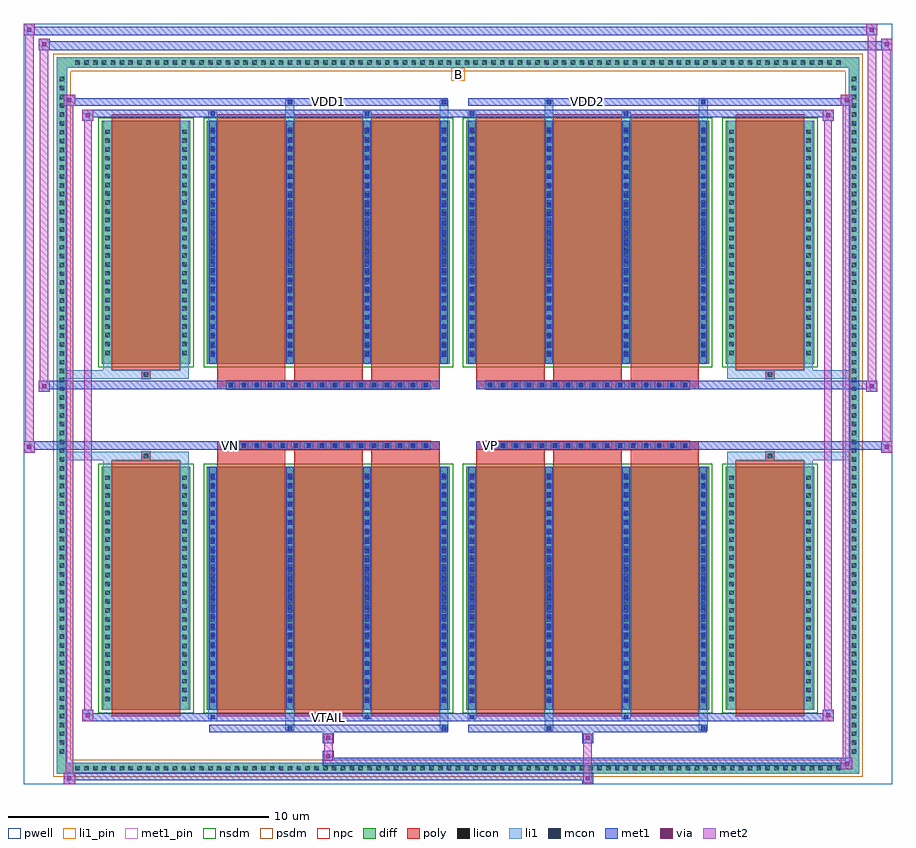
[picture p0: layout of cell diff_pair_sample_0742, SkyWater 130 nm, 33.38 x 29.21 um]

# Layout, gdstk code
import gdstk
lib = gdstk.Library(unit=1e-6, precision=5e-09)
def R(c, l, rs):  # rectangles x0, y0, x1, y1
    for r in rs: c.add(gdstk.rectangle(r[:2], r[2:], *l))
def A(c, l, x, y, w, h, nx, ny, dx, dy):  # array of equal rectangles
    R(c, l, [(x+i*dx, y+j*dy, x+i*dx+w, y+j*dy+h) for i in range(nx) for j in range(ny)])
def P(c, l, *ps):  # polygons
    for p in ps: c.add(gdstk.Polygon(p, *l))
pwell = (64, 44)
diff = (65, 20)
poly = (66, 20)
licon = (66, 44)
li1_pin = (67, 16)
li1 = (67, 20)
mcon = (67, 44)
met1_pin = (68, 16)
met1 = (68, 20)
via = (68, 44)
met2 = (69, 20)
nsdm = (93, 44)
psdm = (94, 20)
npc = (95, 20)

diff_pair_sample_0742 = lib.new_cell('diff_pair_sample_0742')
R(diff_pair_sample_0742, pwell, [(-16.69,-14.17,16.69,15.04), (-14.01,-12.36,-0.01,-0.8), (0.01,-12.36,14.01,-0.8), (-14.01,0.8,-0.01,12.36), (0.01,0.8,14.01,12.36)])
A(diff_pair_sample_0742, diff, -14.825, -13.77, 0.41, 0.41, 87, 2, 0.34, 27.13)
A(diff_pair_sample_0742, diff, -15.42, -13.125, 0.41, 0.41, 1, 77, 0, 0.34)
A(diff_pair_sample_0742, diff, 15.01, -13.125, 0.41, 0.41, 1, 77, 0, 0.34)
R(diff_pair_sample_0742, diff, [(-14.825,-13.77,14.825,-13.36), (-15.42,-13.125,-15.01,13.125), (15.01,-13.125,15.42,13.125), (-13.7,-11.315,-10.29,-1.985), (-9.65,-11.315,-0.32,-1.985), (0.32,-11.315,9.65,-1.985), (10.29,-11.315,13.7,-1.985), (-13.7,1.985,-10.29,11.315), (-9.65,1.985,-0.32,11.315), (0.32,1.985,9.65,11.315), (10.29,1.985,13.7,11.315), (-14.825,13.36,14.825,13.77)])
P(diff_pair_sample_0742, diff, [(15.42,13.77),(-15.42,13.77),(-15.42,-13.36),(-15.01,-13.36),(-15.01,13.36),(15.01,13.36),(15.01,-13.36),(-15.01,-13.36),(-15.42,-13.36),(-15.42,-13.77),(15.42,-13.77)])
A(diff_pair_sample_0742, poly, -9.26, -11.565, 2.63, 9.83, 3, 2, 2.96, 13.3)
A(diff_pair_sample_0742, poly, 0.71, -11.565, 2.63, 9.83, 3, 2, 2.96, 13.3)
A(diff_pair_sample_0742, poly, -9.26, -1.735, 2.63, 0.405, 3, 2, 2.96, 3.065)
A(diff_pair_sample_0742, poly, 0.71, -1.735, 2.63, 0.405, 3, 2, 2.96, 3.065)
A(diff_pair_sample_0742, poly, -8.9, -1.33, 0.33, 0.33, 16, 2, 0.5, 2.33)
A(diff_pair_sample_0742, poly, 1.07, -1.33, 0.33, 0.33, 16, 2, 0.5, 2.33)
R(diff_pair_sample_0742, poly, [(-13.31,-11.565,-10.68,-1.735), (10.68,-11.565,13.31,-1.735), (-12.16,-1.735,-11.83,-1.405), (-12.16,-1.735,-11.83,-1.405), (11.83,-1.735,12.16,-1.405), (11.83,-1.735,12.16,-1.405), (-9.26,-1.33,-0.71,-1), (0.71,-1.33,9.26,-1), (-9.26,1,-0.71,1.33), (0.71,1,9.26,1.33), (-12.16,1.405,-11.83,1.735), (-12.16,1.405,-11.83,1.735), (11.83,1.405,12.16,1.735), (11.83,1.405,12.16,1.735), (-13.31,1.735,-10.68,11.565), (10.68,1.735,13.31,11.565)])
A(diff_pair_sample_0742, licon, -14.705, -13.65, 0.17, 0.17, 87, 2, 0.34, 27.13)
A(diff_pair_sample_0742, licon, -15.3, -13.005, 0.17, 0.17, 1, 77, 0, 0.34)
A(diff_pair_sample_0742, licon, 15.13, -13.005, 0.17, 0.17, 1, 77, 0, 0.34)
A(diff_pair_sample_0742, licon, -13.56, -10.985, 0.17, 0.17, 1, 26, 0, 0.34)
A(diff_pair_sample_0742, licon, -10.6, -10.985, 0.17, 0.17, 1, 26, 0, 0.34)
A(diff_pair_sample_0742, licon, -9.51, -10.985, 0.17, 0.17, 4, 26, 2.96, 0.34)
A(diff_pair_sample_0742, licon, 0.46, -10.985, 0.17, 0.17, 4, 26, 2.96, 0.34)
A(diff_pair_sample_0742, licon, 10.43, -10.985, 0.17, 0.17, 1, 26, 0, 0.34)
A(diff_pair_sample_0742, licon, 13.39, -10.985, 0.17, 0.17, 1, 26, 0, 0.34)
A(diff_pair_sample_0742, licon, -8.82, -1.25, 0.17, 0.17, 16, 2, 0.5, 2.33)
A(diff_pair_sample_0742, licon, 1.15, -1.25, 0.17, 0.17, 16, 2, 0.5, 2.33)
A(diff_pair_sample_0742, licon, -13.56, 2.315, 0.17, 0.17, 1, 26, 0, 0.34)
A(diff_pair_sample_0742, licon, -10.6, 2.315, 0.17, 0.17, 1, 26, 0, 0.34)
A(diff_pair_sample_0742, licon, -9.51, 2.315, 0.17, 0.17, 4, 26, 2.96, 0.34)
A(diff_pair_sample_0742, licon, 0.46, 2.315, 0.17, 0.17, 4, 26, 2.96, 0.34)
A(diff_pair_sample_0742, licon, 10.43, 2.315, 0.17, 0.17, 1, 26, 0, 0.34)
A(diff_pair_sample_0742, licon, 13.39, 2.315, 0.17, 0.17, 1, 26, 0, 0.34)
R(diff_pair_sample_0742, licon, [(-12.08,-1.655,-11.91,-1.485), (11.91,-1.655,12.08,-1.485), (-12.08,1.485,-11.91,1.655), (11.91,1.485,12.08,1.655)])
R(diff_pair_sample_0742, li1_pin, [(-0.25,12.86,0.25,13.36)])
A(diff_pair_sample_0742, li1, -14.785, -13.73, 0.33, 0.33, 87, 2, 0.34, 27.13)
A(diff_pair_sample_0742, li1, -15.38, -13.085, 0.33, 0.33, 1, 77, 0, 0.34)
A(diff_pair_sample_0742, li1, 15.05, -13.085, 0.33, 0.33, 1, 77, 0, 0.34)
A(diff_pair_sample_0742, li1, -9.59, -11.315, 0.33, 9.33, 4, 2, 2.96, 13.3)
A(diff_pair_sample_0742, li1, 0.38, -11.315, 0.33, 9.33, 4, 2, 2.96, 13.3)
A(diff_pair_sample_0742, li1, -13.64, -11.065, 0.33, 0.33, 1, 26, 0, 0.34)
A(diff_pair_sample_0742, li1, -10.68, -11.065, 0.33, 0.33, 1, 26, 0, 0.34)
A(diff_pair_sample_0742, li1, -9.59, -11.065, 0.33, 0.33, 4, 26, 2.96, 0.34)
A(diff_pair_sample_0742, li1, 0.38, -11.065, 0.33, 0.33, 4, 26, 2.96, 0.34)
A(diff_pair_sample_0742, li1, 10.35, -11.065, 0.33, 0.33, 1, 26, 0, 0.34)
A(diff_pair_sample_0742, li1, 13.31, -11.065, 0.33, 0.33, 1, 26, 0, 0.34)
A(diff_pair_sample_0742, li1, -9.51, -11.055, 0.17, 0.17, 4, 25, 2.96, 0.36)
A(diff_pair_sample_0742, li1, -9.51, -11.055, 0.17, 8.81, 4, 2, 2.96, 13.3)
A(diff_pair_sample_0742, li1, 0.46, -11.055, 0.17, 0.17, 4, 25, 2.96, 0.36)
A(diff_pair_sample_0742, li1, 0.46, -11.055, 0.17, 8.81, 4, 2, 2.96, 13.3)
A(diff_pair_sample_0742, li1, -8.9, -1.33, 0.33, 0.33, 16, 2, 0.5, 2.33)
A(diff_pair_sample_0742, li1, 1.07, -1.33, 0.33, 0.33, 16, 2, 0.5, 2.33)
A(diff_pair_sample_0742, li1, -13.64, 2.235, 0.33, 0.33, 1, 26, 0, 0.34)
A(diff_pair_sample_0742, li1, -10.68, 2.235, 0.33, 0.33, 1, 26, 0, 0.34)
A(diff_pair_sample_0742, li1, -9.59, 2.235, 0.33, 0.33, 4, 26, 2.96, 0.34)
A(diff_pair_sample_0742, li1, 0.38, 2.235, 0.33, 0.33, 4, 26, 2.96, 0.34)
A(diff_pair_sample_0742, li1, 10.35, 2.235, 0.33, 0.33, 1, 26, 0, 0.34)
A(diff_pair_sample_0742, li1, 13.31, 2.235, 0.33, 0.33, 1, 26, 0, 0.34)
A(diff_pair_sample_0742, li1, -9.51, 2.245, 0.17, 0.17, 4, 25, 2.96, 0.36)
A(diff_pair_sample_0742, li1, 0.46, 2.245, 0.17, 0.17, 4, 25, 2.96, 0.36)
R(diff_pair_sample_0742, li1, [(-15.42,-13.77,-15.01,-13.36), (-15.42,-13.77,-15.01,-13.36), (-15.01,-13.77,15.01,-13.36), (15.01,-13.77,15.42,-13.36), (15.01,-13.77,15.42,-13.36), (-15.42,-13.36,-15.01,13.36), (15.01,-13.36,15.42,13.36), (-6.63,-12.12,-6.3,-11.315), (-6.55,-12.12,-6.38,-11.95), (-0.71,-12.12,-0.38,-11.315), (-0.63,-12.12,-0.46,-11.95), (3.34,-12.12,3.67,-11.315), (3.42,-12.12,3.59,-11.95), (9.26,-12.12,9.59,-11.315), (9.34,-12.12,9.51,-11.95), (-9.59,-11.69,-9.26,-11.315), (-9.51,-11.69,-9.34,-11.52), (-3.67,-11.69,-3.34,-11.315), (-3.59,-11.69,-3.42,-11.52), (0.38,-11.69,0.71,-11.315), (0.46,-11.69,0.63,-11.52), (6.3,-11.69,6.63,-11.315), (6.38,-11.69,6.55,-11.52), (-13.64,-11.315,-13.31,-1.985), (-10.68,-11.315,-10.35,-1.985), (10.35,-11.315,10.68,-1.985), (13.31,-11.315,13.64,-1.985), (-13.64,-1.985,-13.31,-1.405), (-10.68,-1.985,-10.35,-1.405), (10.35,-1.985,10.68,-1.405), (13.31,-1.985,13.64,-1.405), (-15.42,-1.735,-12.16,-1.405), (-13.64,-1.735,-12.16,-1.405), (-12.16,-1.735,-11.83,-1.405), (-11.83,-1.735,-10.35,-1.405), (10.35,-1.735,11.83,-1.405), (11.83,-1.735,12.16,-1.405), (11.83,-1.735,15.42,-1.405), (12.16,-1.735,13.64,-1.405), (-15.42,1.405,-12.16,1.735), (-13.64,1.405,-12.16,1.735), (-13.64,1.405,-13.31,1.985), (-12.16,1.405,-11.83,1.735), (-11.83,1.405,-10.35,1.735), (-10.68,1.405,-10.35,1.985), (10.35,1.405,11.83,1.735), (10.35,1.405,10.68,1.985), (11.83,1.405,12.16,1.735), (11.83,1.405,15.42,1.735), (12.16,1.405,13.64,1.735), (13.31,1.405,13.64,1.985), (-13.64,1.985,-13.31,11.315), (-10.68,1.985,-10.35,11.315), (10.35,1.985,10.68,11.315), (13.31,1.985,13.64,11.315), (-9.59,11.315,-9.26,11.69), (-6.63,11.315,-6.3,12.12), (-3.67,11.315,-3.34,11.69), (-0.71,11.315,-0.38,12.12), (0.38,11.315,0.71,11.69), (3.34,11.315,3.67,12.12), (6.3,11.315,6.63,11.69), (9.26,11.315,9.59,12.12), (-9.51,11.52,-9.34,11.69), (-3.59,11.52,-3.42,11.69), (0.46,11.52,0.63,11.69), (6.38,11.52,6.55,11.69), (-6.55,11.95,-6.38,12.12), (-0.63,11.95,-0.46,12.12), (3.42,11.95,3.59,12.12), (9.34,11.95,9.51,12.12), (-15.42,13.36,-15.01,13.77), (-15.42,13.36,-15.01,13.77), (-15.01,13.36,15.01,13.77), (15.01,13.36,15.42,13.77), (15.01,13.36,15.42,13.77)])
A(diff_pair_sample_0742, mcon, -9.51, -11.055, 0.17, 0.17, 4, 25, 2.96, 0.36)
A(diff_pair_sample_0742, mcon, 0.46, -11.055, 0.17, 0.17, 4, 25, 2.96, 0.36)
A(diff_pair_sample_0742, mcon, -8.82, -1.25, 0.17, 0.17, 16, 2, 0.5, 2.33)
A(diff_pair_sample_0742, mcon, 1.15, -1.25, 0.17, 0.17, 16, 2, 0.5, 2.33)
A(diff_pair_sample_0742, mcon, -9.51, 2.245, 0.17, 0.17, 4, 25, 2.96, 0.36)
A(diff_pair_sample_0742, mcon, 0.46, 2.245, 0.17, 0.17, 4, 25, 2.96, 0.36)
R(diff_pair_sample_0742, mcon, [(-6.55,-12.12,-6.38,-11.95), (-0.63,-12.12,-0.46,-11.95), (3.42,-12.12,3.59,-11.95), (9.34,-12.12,9.51,-11.95), (-9.51,-11.69,-9.34,-11.52), (-3.59,-11.69,-3.42,-11.52), (0.46,-11.69,0.63,-11.52), (6.38,-11.69,6.55,-11.52), (-9.51,11.52,-9.34,11.69), (-3.59,11.52,-3.42,11.69), (0.46,11.52,0.63,11.69), (6.38,11.52,6.55,11.69), (-6.55,11.95,-6.38,12.12), (-0.63,11.95,-0.46,12.12), (3.42,11.95,3.59,12.12), (9.34,11.95,9.51,12.12)])
R(diff_pair_sample_0742, met1_pin, [(-5.12,-11.73,-4.85,-11.46), (-8.87,-1.29,-8.6,-1.02), (1.1,-1.29,1.37,-1.02), (-5.12,11.91,-4.85,12.18), (4.85,11.91,5.12,12.18)])
A(diff_pair_sample_0742, met1, -9.57, -11.315, 0.29, 9.33, 4, 2, 2.96, 13.3)
A(diff_pair_sample_0742, met1, 0.4, -11.315, 0.29, 9.33, 4, 2, 2.96, 13.3)
A(diff_pair_sample_0742, met1, -9.57, -11.115, 0.29, 0.29, 4, 25, 2.96, 0.36)
A(diff_pair_sample_0742, met1, 0.4, -11.115, 0.29, 0.29, 4, 25, 2.96, 0.36)
A(diff_pair_sample_0742, met1, -8.88, -1.31, 0.29, 0.29, 16, 2, 0.5, 2.33)
A(diff_pair_sample_0742, met1, 1.09, -1.31, 0.29, 0.29, 16, 2, 0.5, 2.33)
A(diff_pair_sample_0742, met1, -9.57, 2.185, 0.29, 0.29, 4, 25, 2.96, 0.36)
A(diff_pair_sample_0742, met1, 0.4, 2.185, 0.29, 0.29, 4, 25, 2.96, 0.36)
R(diff_pair_sample_0742, met1, [(-15.15,-14.17,-14.72,-13.74), (4.77,-14.17,5.2,-13.74), (-15.15,-14.03,5.2,-13.74), (14.72,-13.6,15.15,-13.17), (-5.2,-13.46,15.15,-13.17), (-5.2,-13.32,-4.77,-12.89), (-5.2,-12.61,-4.77,-12.18), (4.77,-12.61,5.2,-12.18), (-9.57,-12.18,-0.4,-11.89), (-6.61,-12.18,-6.32,-11.89), (-0.69,-12.18,-0.4,-11.89), (0.4,-12.18,9.57,-11.89), (3.36,-12.18,3.65,-11.89), (9.28,-12.18,9.57,-11.89), (-14.44,-11.75,-14.01,-11.32), (-14.44,-11.75,-9.57,-11.46), (-9.57,-11.75,-9.28,-11.46), (-9.57,-11.75,-0.4,-11.46), (-3.65,-11.75,-3.36,-11.46), (-0.4,-11.75,0.4,-11.46), (0.4,-11.75,0.69,-11.46), (0.4,-11.75,9.57,-11.46), (6.32,-11.75,6.61,-11.46), (9.57,-11.75,14.44,-11.46), (14.01,-11.75,14.44,-11.32), (-16.69,-1.43,-16.26,-1), (16.26,-1.43,16.69,-1), (-16.69,-1.33,-0.71,-1), (-9.26,-1.33,-0.71,-1), (0.71,-1.33,9.26,-1), (0.71,-1.33,16.69,-1), (-16.12,0.9,-15.69,1.33), (15.69,0.9,16.12,1.33), (-16.12,1,-9.26,1.33), (-9.26,1,-0.71,1.33), (0.71,1,9.26,1.33), (9.26,1,16.12,1.33), (-14.44,11.32,-14.01,11.75), (14.01,11.32,14.44,11.75), (-14.44,11.46,-9.57,11.75), (-9.57,11.46,-9.28,11.75), (-9.57,11.46,-0.4,11.75), (-3.65,11.46,-3.36,11.75), (-0.4,11.46,0.4,11.75), (0.4,11.46,0.69,11.75), (0.4,11.46,9.57,11.75), (6.32,11.46,6.61,11.75), (9.57,11.46,14.44,11.75), (-15.15,11.89,-14.72,12.32), (-15.15,11.89,-9.57,12.18), (-9.57,11.89,-0.4,12.18), (-6.61,11.89,-6.32,12.18), (-0.69,11.89,-0.4,12.18), (0.4,11.89,9.57,12.18), (3.36,11.89,3.65,12.18), (9.28,11.89,9.57,12.18), (9.57,11.89,15.15,12.18), (14.72,11.89,15.15,12.32), (-16.12,14.04,-15.69,14.47), (-16.12,14.04,-14.01,14.37), (-14.01,14.04,14.01,14.37), (14.01,14.04,16.69,14.37), (16.26,14.04,16.69,14.47), (-16.69,14.61,-16.26,15.04), (-16.69,14.61,-14.01,14.94), (-14.01,14.61,14.01,14.94), (14.01,14.61,16.12,14.94), (15.69,14.61,16.12,15.04)])
R(diff_pair_sample_0742, via, [(-15.01,-14.03,-14.86,-13.88), (4.91,-14.03,5.06,-13.88), (14.86,-13.46,15.01,-13.31), (-5.06,-13.18,-4.91,-13.03), (-5.06,-12.47,-4.91,-12.32), (4.91,-12.47,5.06,-12.32), (-14.3,-11.61,-14.15,-11.46), (14.15,-11.61,14.3,-11.46), (-16.55,-1.29,-16.4,-1.14), (16.4,-1.29,16.55,-1.14), (-15.98,1.04,-15.83,1.19), (15.83,1.04,15.98,1.19), (-14.3,11.46,-14.15,11.61), (14.15,11.46,14.3,11.61), (-15.01,12.03,-14.86,12.18), (14.86,12.03,15.01,12.18), (-15.98,14.18,-15.83,14.33), (16.4,14.18,16.55,14.33), (-16.55,14.75,-16.4,14.9), (15.83,14.75,15.98,14.9)])
R(diff_pair_sample_0742, met2, [(-15.15,-14.17,-14.72,-13.74), (-15.08,-14.17,-14.79,12.32), (-14.79,-14.17,-14.72,-13.74), (-15.1,-14.12,-14.77,-13.79), (4.82,-14.12,5.15,-13.79), (4.82,-13.79,5.15,-12.56), (14.72,-13.6,15.15,-13.17), (14.79,-13.6,15.08,12.32), (15.08,-13.6,15.15,-13.17), (14.77,-13.55,15.1,-13.22), (-5.15,-13.27,-4.82,-12.94), (-5.15,-12.94,-4.82,-12.56), (-5.15,-12.56,-4.82,-12.23), (4.82,-12.56,5.15,-12.23), (-14.44,-11.75,-14.01,-11.32), (-14.37,-11.75,-14.08,11.75), (-14.08,-11.75,-14.01,-11.32), (14.01,-11.75,14.44,-11.32), (14.08,-11.75,14.37,11.75), (14.37,-11.75,14.44,-11.32), (-14.39,-11.7,-14.06,-11.37), (14.06,-11.7,14.39,-11.37), (-16.69,-1.43,-16.26,-1), (-16.64,-1.43,-16.31,15.04), (-16.31,-1.43,-16.26,-1), (16.26,-1.43,16.69,-1), (16.31,-1.43,16.64,14.47), (16.64,-1.43,16.69,-1), (-16.64,-1.38,-16.31,-1.05), (16.31,-1.38,16.64,-1.05), (-16.12,0.9,-15.69,1.33), (-16.07,0.9,-15.74,14.47), (-15.74,0.9,-15.69,1.33), (15.69,0.9,16.12,1.33), (15.74,0.9,16.07,15.04), (16.07,0.9,16.12,1.33), (-16.07,0.95,-15.74,1.28), (15.74,0.95,16.07,1.28), (-14.44,11.32,-14.01,11.75), (-14.08,11.32,-14.01,11.75), (14.01,11.32,14.44,11.75), (14.37,11.32,14.44,11.75), (-14.39,11.37,-14.06,11.7), (14.06,11.37,14.39,11.7), (-15.15,11.89,-14.72,12.32), (-14.79,11.89,-14.72,12.32), (14.72,11.89,15.15,12.32), (15.08,11.89,15.15,12.32), (-15.1,11.94,-14.77,12.27), (14.77,11.94,15.1,12.27), (-16.12,14.04,-15.69,14.47), (-15.74,14.04,-15.69,14.47), (16.26,14.04,16.69,14.47), (16.64,14.04,16.69,14.47), (-16.07,14.09,-15.74,14.42), (16.31,14.09,16.64,14.42), (-16.69,14.61,-16.26,15.04), (-16.31,14.61,-16.26,15.04), (15.69,14.61,16.12,15.04), (16.07,14.61,16.12,15.04), (-16.64,14.66,-16.31,14.99), (15.74,14.66,16.07,14.99)])
R(diff_pair_sample_0742, nsdm, [(-13.83,-11.445,-10.16,-1.855), (-9.78,-11.445,-0.19,-1.855), (0.19,-11.445,9.78,-1.855), (10.16,-11.445,13.83,-1.855), (-13.83,1.855,-10.16,11.445), (-9.78,1.855,-0.19,11.445), (0.19,1.855,9.78,11.445), (10.16,1.855,13.83,11.445)])
P(diff_pair_sample_0742, psdm, [(15.55,13.9),(-15.55,13.9),(-15.55,-13.23),(-14.88,-13.23),(-14.88,13.23),(14.88,13.23),(14.88,-13.23),(-14.88,-13.23),(-15.55,-13.23),(-15.55,-13.9),(15.55,-13.9)])
A(diff_pair_sample_0742, npc, -8.92, -1.35, 0.37, 0.37, 16, 2, 0.5, 2.33)
A(diff_pair_sample_0742, npc, 1.05, -1.35, 0.37, 0.37, 16, 2, 0.5, 2.33)
R(diff_pair_sample_0742, npc, [(-12.18,-1.755,-11.81,-1.385), (11.81,-1.755,12.18,-1.385), (-8.92,-1.35,-8.05,-0.98), (-8.92,-1.35,-8.05,-0.98), (-8.42,-1.35,-7.55,-0.98), (-8.42,-1.35,-7.55,-0.98), (-7.92,-1.35,-7.05,-0.98), (-7.92,-1.35,-7.05,-0.98), (-7.42,-1.35,-6.55,-0.98), (-7.42,-1.35,-6.55,-0.98), (-6.92,-1.35,-6.05,-0.98), (-6.92,-1.35,-6.05,-0.98), (-6.42,-1.35,-5.55,-0.98), (-6.42,-1.35,-5.55,-0.98), (-5.92,-1.35,-5.05,-0.98), (-5.92,-1.35,-5.05,-0.98), (-5.42,-1.35,-4.55,-0.98), (-5.42,-1.35,-4.55,-0.98), (-4.92,-1.35,-4.05,-0.98), (-4.92,-1.35,-4.05,-0.98), (-4.42,-1.35,-3.55,-0.98), (-4.42,-1.35,-3.55,-0.98), (-3.92,-1.35,-3.05,-0.98), (-3.92,-1.35,-3.05,-0.98), (-3.42,-1.35,-2.55,-0.98), (-3.42,-1.35,-2.55,-0.98), (-2.92,-1.35,-2.05,-0.98), (-2.92,-1.35,-2.05,-0.98), (-2.42,-1.35,-1.55,-0.98), (-2.42,-1.35,-1.55,-0.98), (-1.92,-1.35,-1.05,-0.98), (-1.92,-1.35,-1.05,-0.98), (1.05,-1.35,1.92,-0.98), (1.05,-1.35,1.92,-0.98), (1.55,-1.35,2.42,-0.98), (1.55,-1.35,2.42,-0.98), (2.05,-1.35,2.92,-0.98), (2.05,-1.35,2.92,-0.98), (2.55,-1.35,3.42,-0.98), (2.55,-1.35,3.42,-0.98), (3.05,-1.35,3.92,-0.98), (3.05,-1.35,3.92,-0.98), (3.55,-1.35,4.42,-0.98), (3.55,-1.35,4.42,-0.98), (4.05,-1.35,4.92,-0.98), (4.05,-1.35,4.92,-0.98), (4.55,-1.35,5.42,-0.98), (4.55,-1.35,5.42,-0.98), (5.05,-1.35,5.92,-0.98), (5.05,-1.35,5.92,-0.98), (5.55,-1.35,6.42,-0.98), (5.55,-1.35,6.42,-0.98), (6.05,-1.35,6.92,-0.98), (6.05,-1.35,6.92,-0.98), (6.55,-1.35,7.42,-0.98), (6.55,-1.35,7.42,-0.98), (7.05,-1.35,7.92,-0.98), (7.05,-1.35,7.92,-0.98), (7.55,-1.35,8.42,-0.98), (7.55,-1.35,8.42,-0.98), (8.05,-1.35,8.92,-0.98), (8.05,-1.35,8.92,-0.98), (-8.92,0.98,-8.05,1.35), (-8.92,0.98,-8.05,1.35), (-8.42,0.98,-7.55,1.35), (-8.42,0.98,-7.55,1.35), (-7.92,0.98,-7.05,1.35), (-7.92,0.98,-7.05,1.35), (-7.42,0.98,-6.55,1.35), (-7.42,0.98,-6.55,1.35), (-6.92,0.98,-6.05,1.35), (-6.92,0.98,-6.05,1.35), (-6.42,0.98,-5.55,1.35), (-6.42,0.98,-5.55,1.35), (-5.92,0.98,-5.05,1.35), (-5.92,0.98,-5.05,1.35), (-5.42,0.98,-4.55,1.35), (-5.42,0.98,-4.55,1.35), (-4.92,0.98,-4.05,1.35), (-4.92,0.98,-4.05,1.35), (-4.42,0.98,-3.55,1.35), (-4.42,0.98,-3.55,1.35), (-3.92,0.98,-3.05,1.35), (-3.92,0.98,-3.05,1.35), (-3.42,0.98,-2.55,1.35), (-3.42,0.98,-2.55,1.35), (-2.92,0.98,-2.05,1.35), (-2.92,0.98,-2.05,1.35), (-2.42,0.98,-1.55,1.35), (-2.42,0.98,-1.55,1.35), (-1.92,0.98,-1.05,1.35), (-1.92,0.98,-1.05,1.35), (1.05,0.98,1.92,1.35), (1.05,0.98,1.92,1.35), (1.55,0.98,2.42,1.35), (1.55,0.98,2.42,1.35), (2.05,0.98,2.92,1.35), (2.05,0.98,2.92,1.35), (2.55,0.98,3.42,1.35), (2.55,0.98,3.42,1.35), (3.05,0.98,3.92,1.35), (3.05,0.98,3.92,1.35), (3.55,0.98,4.42,1.35), (3.55,0.98,4.42,1.35), (4.05,0.98,4.92,1.35), (4.05,0.98,4.92,1.35), (4.55,0.98,5.42,1.35), (4.55,0.98,5.42,1.35), (5.05,0.98,5.92,1.35), (5.05,0.98,5.92,1.35), (5.55,0.98,6.42,1.35), (5.55,0.98,6.42,1.35), (6.05,0.98,6.92,1.35), (6.05,0.98,6.92,1.35), (6.55,0.98,7.42,1.35), (6.55,0.98,7.42,1.35), (7.05,0.98,7.92,1.35), (7.05,0.98,7.92,1.35), (7.55,0.98,8.42,1.35), (7.55,0.98,8.42,1.35), (8.05,0.98,8.92,1.35), (8.05,0.98,8.92,1.35), (-12.18,1.385,-11.81,1.755), (11.81,1.385,12.18,1.755)])
diff_pair_sample_0742.add(gdstk.Label('VTAIL', (-4.985,-11.595), layer=68, texttype=5))
diff_pair_sample_0742.add(gdstk.Label('VN', (-8.735,-1.155), layer=68, texttype=5))
diff_pair_sample_0742.add(gdstk.Label('VP', (1.235,-1.155), layer=68, texttype=5))
diff_pair_sample_0742.add(gdstk.Label('B', (0,13.11), layer=67, texttype=5))
diff_pair_sample_0742.add(gdstk.Label('VDD2', (4.985,12.045), layer=68, texttype=5))
diff_pair_sample_0742.add(gdstk.Label('VDD1', (-4.985,12.045), layer=68, texttype=5))

lib.write_gds('diff_pair_sample_0742.gds')
